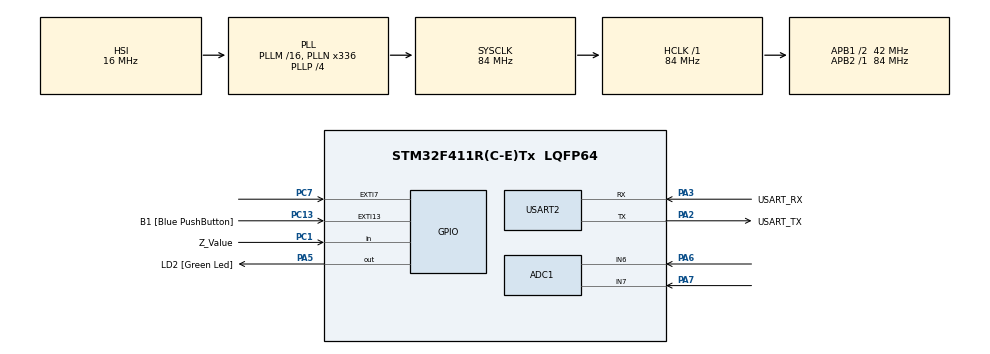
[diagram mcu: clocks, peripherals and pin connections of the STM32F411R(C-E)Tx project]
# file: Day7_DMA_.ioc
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ADC1.Channel-0\#ChannelRegularConversion=ADC_CHANNEL_6
ADC1.Channel-1\#ChannelRegularConversion=ADC_CHANNEL_7
ADC1.DMAContinuousRequests=ENABLE
ADC1.EOCSelection=ADC_EOC_SEQ_CONV
ADC1.ExternalTrigConv=ADC_EXTERNALTRIGCONV_T3_TRGO
ADC1.NbrOfConversion=2
ADC1.NbrOfConversionFlag=1
ADC1.Rank-0\#ChannelRegularConversion=1
ADC1.Rank-1\#ChannelRegularConversion=2
ADC1.SamplingTime-0\#ChannelRegularConversion=ADC_SAMPLETIME_84CYCLES
ADC1.SamplingTime-1\#ChannelRegularConversion=ADC_SAMPLETIME_84CYCLES
ADC1.ScanConvMode=ENABLE
ADC1.master=1
Dma.ADC1.0.Direction=DMA_PERIPH_TO_MEMORY
Dma.ADC1.0.FIFOMode=DMA_FIFOMODE_DISABLE
Dma.ADC1.0.Instance=DMA2_Stream0
Dma.ADC1.0.MemDataAlignment=DMA_MDATAALIGN_HALFWORD
Dma.ADC1.0.MemInc=DMA_MINC_ENABLE
Dma.ADC1.0.Mode=DMA_CIRCULAR
Dma.ADC1.0.PeriphDataAlignment=DMA_PDATAALIGN_HALFWORD
Dma.ADC1.0.PeriphInc=DMA_PINC_DISABLE
Dma.ADC1.0.Priority=DMA_PRIORITY_LOW
Dma.Request0=ADC1
Mcu.Family=STM32F4
Mcu.Name=STM32F411R(C-E)Tx
Mcu.Package=LQFP64
NVIC.DMA2_Stream0_IRQn=true\:0\:0\:false\:false\:true\:false\:true\:true
NVIC.EXTI9_5_IRQn=true\:0\:0\:false\:false\:true\:true\:true\:true
NVIC.PriorityGroup=NVIC_PRIORITYGROUP_0
NVIC.TIM4_IRQn=true\:0\:0\:false\:false\:true\:true\:true\:true
PA13.GPIO_Label=TMS
PA13.Mode=Serial_Wire
PA13.Signal=SYS_JTMS-SWDIO
PA14.GPIO_Label=TCK
PA14.Mode=Serial_Wire
PA14.Signal=SYS_JTCK-SWCLK
PA2.GPIO_Label=USART_TX
PA2.Mode=Asynchronous
PA2.Signal=USART2_TX
PA3.GPIO_Label=USART_RX
PA3.Mode=Asynchronous
PA3.Signal=USART2_RX
PA5.GPIO_Label=LD2 [Green Led]
PA5.Signal=GPIO_Output
PA6.Signal=ADCx_IN6
PA7.Signal=ADCx_IN7
PB3.GPIO_Label=SWO
PB3.Signal=SYS_JTDO-SWO
PC1.GPIO_Label=Z_Value
PC1.GPIO_PuPd=GPIO_PULLUP
PC1.Signal=GPIO_Input
PC13-ANTI_TAMP.GPIO_Label=B1 [Blue PushButton]
PC13-ANTI_TAMP.GPIO_ModeDefaultEXTI=GPIO_MODE_IT_FALLING
PC13-ANTI_TAMP.Signal=GPXTI13
PC14-OSC32_IN.Mode=LSE-External-Oscillator
PC14-OSC32_IN.Signal=RCC_OSC32_IN
PC15-OSC32_OUT.Mode=LSE-External-Oscillator
PC15-OSC32_OUT.Signal=RCC_OSC32_OUT
PC7.GPIO_ModeDefaultEXTI=GPIO_MODE_IT_RISING
PC7.Signal=GPXTI7
PH0\ -\ OSC_IN.Mode=HSE-External-Clock-Source
PH0\ -\ OSC_IN.Signal=RCC_OSC_IN
PH1\ -\ OSC_OUT.Mode=HSE-External-Clock-Source
PH1\ -\ OSC_OUT.Signal=RCC_OSC_OUT
ProjectManager.HeapSize=0x200
ProjectManager.StackSize=0x400
ProjectManager.TargetToolchain=STM32CubeIDE
RCC.48MHZClocksFreq_Value=84000000
RCC.AHBFreq_Value=84000000
RCC.APB1CLKDivider=RCC_HCLK_DIV2
RCC.APB1Freq_Value=42000000
RCC.APB1TimFreq_Value=84000000
RCC.APB2Freq_Value=84000000
RCC.APB2TimFreq_Value=84000000
RCC.CortexFreq_Value=84000000
RCC.FLatency-AdvancedSettings=FLASH_LATENCY_2
RCC.HCLKFreq_Value=84000000
RCC.HSE_VALUE=8000000
RCC.HSI_VALUE=16000000
RCC.PLLN=336
RCC.PLLP=RCC_PLLP_DIV4
RCC.SYSCLKFreq_VALUE=84000000
RCC.SYSCLKSource=RCC_SYSCLKSOURCE_PLLCLK
RCC.VCOOutputFreq_Value=336000000
SH.ADCx_IN6.0=ADC1_IN6,IN6
SH.ADCx_IN7.0=ADC1_IN7,IN7
TIM3.Period=2000-1
TIM3.Prescaler=8400-1
TIM3.TIM_MasterOutputTrigger=TIM_TRGO_UPDATE
TIM4.Period=10000-1
TIM4.Prescaler=8400-1
USART2.VirtualMode=VM_ASYNC
VP_TIM3_VS_ClockSourceINT.Mode=Internal
VP_TIM4_VS_ClockSourceINT.Mode=Internal
board=NUCLEO-F411RE

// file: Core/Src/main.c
/* USER CODE BEGIN Header */
/**
  ******************************************************************************
  * @file           : main.c
  * @brief          : Main program body
  ******************************************************************************
  * @attention
  *
  * Copyright (c) 2023 STMicroelectronics.
  * All rights reserved.
  *
  * This software is licensed under terms that can be found in the LICENSE file
  * in the root directory of this software component.
  * If no LICENSE file comes with this software, it is provided AS-IS.
  *
  ******************************************************************************
  */
/* USER CODE END Header */
#include "main.h"

ADC_HandleTypeDef hadc1;
DMA_HandleTypeDef hdma_adc1;

TIM_HandleTypeDef htim3;
TIM_HandleTypeDef htim4;

UART_HandleTypeDef huart2;

/* USER CODE BEGIN PV */
typedef union
{
	char cbuf[2]; // DMA Buffer
	uint16_t ibuf;
} BUFFER;
BUFFER bDMA[100];
int xVal=0, yVal=0, zVal=0;
int cnt = 0;
int dir = 0;
char *dirs[] = {"Front      ", "Front-Left ", "Left       ", "Back-Left  ", "Back       " , "Back-Right ", "Right      ", "Front-Right", "Push", "    "};

/* USER CODE END PV */

void SystemClock_Config(void);
static void MX_GPIO_Init(void);
static void MX_DMA_Init(void);
static void MX_USART2_UART_Init(void);
static void MX_ADC1_Init(void);
static void MX_TIM4_Init(void);
static void MX_TIM3_Init(void);

/* USER CODE BEGIN 0 */

// bDMA?��?�� �??????���????? union?���????? ?��?��

int __io_putchar(int ch)
{
   HAL_UART_Transmit(&huart2, &ch, 1, 100);
   return ch;
}

void GetDirection()
{
         if(xVal > 3000)
         {
            if(yVal > 3000) dir = 5;
            else if(yVal >1000) dir = 6;
            else dir =7;
         }
         else if(xVal < 1000)
         {
            if(yVal > 3000) dir = 3;
            else if(yVal >1000) dir = 2;
            else dir = 1;
         }
         else
         {
            if(yVal > 3000) dir = 4;
            else dir = 0;
         }
}

void Joystick_Test() //Read X and Y axis, convert to digital. zAxics also.
{
   int click_i;

   HAL_ADC_Start(&hadc1);
   //HAL_ADC_PollForConversion(&hadc1, 100);
   xVal = HAL_ADC_GetValue(&hadc1);

   //HAL_ADC_PollForConversion(&hadc1, 100);
   yVal = HAL_ADC_GetValue(&hadc1);

   //HAL_ADC_Stop(&hadc1);

   zVal = !(HAL_GPIO_ReadPin(Z_Value_GPIO_Port, Z_Value_Pin));

   if (zVal) click_i = 8;
   else click_i = 9;

   GetDirection();

   printf("x:%-5d y:%-5d z:%-3d  Direction : %-12s  Status : %-6s   \r\n", xVal, yVal, zVal, dirs[dir], dirs[click_i]);
   //printf("x:%d y:%d z:%d  Direction : %s  \r\n", xVal, yVal, zVal, dirs[dir]);
}

void HAL_ADC_ConvCPpltCallback(ADC_HandleTypeDef* hadc) //ADC interrupt callback funtion
{

	int click_i;

   if(cnt == 0)
   {
      xVal = HAL_ADC_GetValue(&hadc1);
   }
   if(cnt == 1)
   {
      yVal = HAL_ADC_GetValue(&hadc1);
   }
   if(++cnt > 1)
   {
      zVal = HAL_GPIO_ReadPin(Z_Value_GPIO_Port, Z_Value_Pin);

      if (zVal) click_i = 8;
      else click_i = 9;

      GetDirection();

      printf("x:%d y:%d z:%d  Direction : %s  Status : %s   \r\n", xVal, yVal, zVal, dirs[dir], dirs[click_i]);
      cnt = 0;//once in Interrupt Service Routine
   }

   HAL_ADC_Start_IT(&hadc1);
}

void HAL_TIM_PeriodElapsedCallback(TIM_HandleTypeDef *htim) //General Timer handler cause not have word about timer4
{
   //if(htim->Instance == TIM4)
         //Joystick_Test();
}

void HAL_GPIO_EXTI_Callback(uint16_t GPIO_Pin) // Generarl Callback
{
	//if(GPIO_Pin == GPIO_PIN_7)
		Joystick_Test();
}
/* USER CODE END 0 */

int main(void)
{

  /* MCU Configuration--------------------------------------------------------*/

  /* Reset of all peripherals, Initializes the Flash interface and the Systick. */
  HAL_Init();

  /* Configure the system clock */
  SystemClock_Config();

  /* Initialize all configured peripherals */
  MX_GPIO_Init();
  MX_DMA_Init();
  MX_USART2_UART_Init();
  MX_ADC1_Init();
  MX_TIM4_Init();
  MX_TIM3_Init();
  /* USER CODE BEGIN 2 */
  //HAL_ADC_Start_IT(&hadc1); // ADC Interrupt Start
  // HAL_TIM_Base_Start_IT(&htim4); // Timer Interrupt Start
  HAL_TIM_Base_Start(&htim3); // Timer Start
  HAL_ADC_Start_DMA(&hadc1, bDMA, 2);
  printf("Program Start!\r\n");
  /* USER CODE END 2 */

  /* Infinite loop */
  while (1)
  {

    /* USER CODE BEGIN 3 */
	  printf("x : %d[%02x %02x], y : %d[%02x %02x] \r\n", bDMA[0].ibuf, bDMA[0].cbuf[0], bDMA[0].cbuf[1],
			                                              bDMA[1].ibuf, bDMA[1].cbuf[0], bDMA[1].cbuf[1]);
	  HAL_Delay(300);
  }
  /* USER CODE END 3 */
}

void SystemClock_Config(void)
{
  RCC_OscInitTypeDef RCC_OscInitStruct = {0};
  RCC_ClkInitTypeDef RCC_ClkInitStruct = {0};

  /** Configure the main internal regulator output voltage
  */
  __HAL_RCC_PWR_CLK_ENABLE();
  __HAL_PWR_VOLTAGESCALING_CONFIG(PWR_REGULATOR_VOLTAGE_SCALE1);

  /** Initializes the RCC Oscillators according to the specified parameters
  * in the RCC_OscInitTypeDef structure.
  */
  RCC_OscInitStruct.OscillatorType = RCC_OSCILLATORTYPE_HSI;
  RCC_OscInitStruct.HSIState = RCC_HSI_ON;
  RCC_OscInitStruct.HSICalibrationValue = RCC_HSICALIBRATION_DEFAULT;
  RCC_OscInitStruct.PLL.PLLState = RCC_PLL_ON;
  RCC_OscInitStruct.PLL.PLLSource = RCC_PLLSOURCE_HSI;
  RCC_OscInitStruct.PLL.PLLM = 16;
  RCC_OscInitStruct.PLL.PLLN = 336;
  RCC_OscInitStruct.PLL.PLLP = RCC_PLLP_DIV4;
  RCC_OscInitStruct.PLL.PLLQ = 4;
  if (HAL_RCC_OscConfig(&RCC_OscInitStruct) != HAL_OK)
  {
    Error_Handler();
  }

  /** Initializes the CPU, AHB and APB buses clocks
  */
  RCC_ClkInitStruct.ClockType = RCC_CLOCKTYPE_HCLK|RCC_CLOCKTYPE_SYSCLK
                              |RCC_CLOCKTYPE_PCLK1|RCC_CLOCKTYPE_PCLK2;
  RCC_ClkInitStruct.SYSCLKSource = RCC_SYSCLKSOURCE_PLLCLK;
  RCC_ClkInitStruct.AHBCLKDivider = RCC_SYSCLK_DIV1;
  RCC_ClkInitStruct.APB1CLKDivider = RCC_HCLK_DIV2;
  RCC_ClkInitStruct.APB2CLKDivider = RCC_HCLK_DIV1;

  if (HAL_RCC_ClockConfig(&RCC_ClkInitStruct, FLASH_LATENCY_2) != HAL_OK)
  {
    Error_Handler();
  }
}

static void MX_ADC1_Init(void)
{

  ADC_ChannelConfTypeDef sConfig = {0};

  /** Configure the global features of the ADC (Clock, Resolution, Data Alignment and number of conversion)
  */
  hadc1.Instance = ADC1;
  hadc1.Init.ClockPrescaler = ADC_CLOCK_SYNC_PCLK_DIV4;
  hadc1.Init.Resolution = ADC_RESOLUTION_12B;
  hadc1.Init.ScanConvMode = ENABLE;
  hadc1.Init.ContinuousConvMode = DISABLE;
  hadc1.Init.DiscontinuousConvMode = DISABLE;
  hadc1.Init.ExternalTrigConvEdge = ADC_EXTERNALTRIGCONVEDGE_RISING;
  hadc1.Init.ExternalTrigConv = ADC_EXTERNALTRIGCONV_T3_TRGO;
  hadc1.Init.DataAlign = ADC_DATAALIGN_RIGHT;
  hadc1.Init.NbrOfConversion = 2;
  hadc1.Init.DMAContinuousRequests = ENABLE;
  hadc1.Init.EOCSelection = ADC_EOC_SEQ_CONV;
  if (HAL_ADC_Init(&hadc1) != HAL_OK)
  {
    Error_Handler();
  }

  /** Configure for the selected ADC regular channel its corresponding rank in the sequencer and its sample time.
  */
  sConfig.Channel = ADC_CHANNEL_6;
  sConfig.Rank = 1;
  sConfig.SamplingTime = ADC_SAMPLETIME_84CYCLES;
  if (HAL_ADC_ConfigChannel(&hadc1, &sConfig) != HAL_OK)
  {
    Error_Handler();
  }

  /** Configure for the selected ADC regular channel its corresponding rank in the sequencer and its sample time.
  */
  sConfig.Channel = ADC_CHANNEL_7;
  sConfig.Rank = 2;
  if (HAL_ADC_ConfigChannel(&hadc1, &sConfig) != HAL_OK)
  {
    Error_Handler();
  }

}

static void MX_TIM3_Init(void)
{

  TIM_ClockConfigTypeDef sClockSourceConfig = {0};
  TIM_MasterConfigTypeDef sMasterConfig = {0};

  htim3.Instance = TIM3;
  htim3.Init.Prescaler = 8400-1;
  htim3.Init.CounterMode = TIM_COUNTERMODE_UP;
  htim3.Init.Period = 2000-1;
  htim3.Init.ClockDivision = TIM_CLOCKDIVISION_DIV1;
  htim3.Init.AutoReloadPreload = TIM_AUTORELOAD_PRELOAD_DISABLE;
  if (HAL_TIM_Base_Init(&htim3) != HAL_OK)
  {
    Error_Handler();
  }
  sClockSourceConfig.ClockSource = TIM_CLOCKSOURCE_INTERNAL;
  if (HAL_TIM_ConfigClockSource(&htim3, &sClockSourceConfig) != HAL_OK)
  {
    Error_Handler();
  }
  sMasterConfig.MasterOutputTrigger = TIM_TRGO_UPDATE;
  sMasterConfig.MasterSlaveMode = TIM_MASTERSLAVEMODE_DISABLE;
  if (HAL_TIMEx_MasterConfigSynchronization(&htim3, &sMasterConfig) != HAL_OK)
  {
    Error_Handler();
  }

}

static void MX_TIM4_Init(void)
{

  TIM_ClockConfigTypeDef sClockSourceConfig = {0};
  TIM_MasterConfigTypeDef sMasterConfig = {0};

  htim4.Instance = TIM4;
  htim4.Init.Prescaler = 8400-1;
  htim4.Init.CounterMode = TIM_COUNTERMODE_UP;
  htim4.Init.Period = 10000-1;
  htim4.Init.ClockDivision = TIM_CLOCKDIVISION_DIV1;
  htim4.Init.AutoReloadPreload = TIM_AUTORELOAD_PRELOAD_DISABLE;
  if (HAL_TIM_Base_Init(&htim4) != HAL_OK)
  {
    Error_Handler();
  }
  sClockSourceConfig.ClockSource = TIM_CLOCKSOURCE_INTERNAL;
  if (HAL_TIM_ConfigClockSource(&htim4, &sClockSourceConfig) != HAL_OK)
  {
    Error_Handler();
  }
  sMasterConfig.MasterOutputTrigger = TIM_TRGO_RESET;
  sMasterConfig.MasterSlaveMode = TIM_MASTERSLAVEMODE_DISABLE;
  if (HAL_TIMEx_MasterConfigSynchronization(&htim4, &sMasterConfig) != HAL_OK)
  {
    Error_Handler();
  }

}

static void MX_USART2_UART_Init(void)
{

  huart2.Instance = USART2;
  huart2.Init.BaudRate = 115200;
  huart2.Init.WordLength = UART_WORDLENGTH_8B;
  huart2.Init.StopBits = UART_STOPBITS_1;
  huart2.Init.Parity = UART_PARITY_NONE;
  huart2.Init.Mode = UART_MODE_TX_RX;
  huart2.Init.HwFlowCtl = UART_HWCONTROL_NONE;
  huart2.Init.OverSampling = UART_OVERSAMPLING_16;
  if (HAL_UART_Init(&huart2) != HAL_OK)
  {
    Error_Handler();
  }

}

static void MX_DMA_Init(void)
{

  /* DMA controller clock enable */
  __HAL_RCC_DMA2_CLK_ENABLE();

  /* DMA interrupt init */
  /* DMA2_Stream0_IRQn interrupt configuration */
  HAL_NVIC_SetPriority(DMA2_Stream0_IRQn, 0, 0);
  HAL_NVIC_EnableIRQ(DMA2_Stream0_IRQn);

}

static void MX_GPIO_Init(void)
{
  GPIO_InitTypeDef GPIO_InitStruct = {0};

  /* GPIO Ports Clock Enable */
  __HAL_RCC_GPIOC_CLK_ENABLE();
  __HAL_RCC_GPIOH_CLK_ENABLE();
  __HAL_RCC_GPIOA_CLK_ENABLE();
  __HAL_RCC_GPIOB_CLK_ENABLE();

  /*Configure GPIO pin Output Level */
  HAL_GPIO_WritePin(LD2_GPIO_Port, LD2_Pin, GPIO_PIN_RESET);

  /*Configure GPIO pin : B1_Pin */
  GPIO_InitStruct.Pin = B1_Pin;
  GPIO_InitStruct.Mode = GPIO_MODE_IT_FALLING;
  GPIO_InitStruct.Pull = GPIO_NOPULL;
  HAL_GPIO_Init(B1_GPIO_Port, &GPIO_InitStruct);

  /*Configure GPIO pin : Z_Value_Pin */
  GPIO_InitStruct.Pin = Z_Value_Pin;
  GPIO_InitStruct.Mode = GPIO_MODE_INPUT;
  GPIO_InitStruct.Pull = GPIO_PULLUP;
  HAL_GPIO_Init(Z_Value_GPIO_Port, &GPIO_InitStruct);

  /*Configure GPIO pin : LD2_Pin */
  GPIO_InitStruct.Pin = LD2_Pin;
  GPIO_InitStruct.Mode = GPIO_MODE_OUTPUT_PP;
  GPIO_InitStruct.Pull = GPIO_NOPULL;
  GPIO_InitStruct.Speed = GPIO_SPEED_FREQ_LOW;
  HAL_GPIO_Init(LD2_GPIO_Port, &GPIO_InitStruct);

  /*Configure GPIO pin : PC7 */
  GPIO_InitStruct.Pin = GPIO_PIN_7;
  GPIO_InitStruct.Mode = GPIO_MODE_IT_RISING;
  GPIO_InitStruct.Pull = GPIO_NOPULL;
  HAL_GPIO_Init(GPIOC, &GPIO_InitStruct);

  /* EXTI interrupt init*/
  HAL_NVIC_SetPriority(EXTI9_5_IRQn, 0, 0);
  HAL_NVIC_EnableIRQ(EXTI9_5_IRQn);

}

void Error_Handler(void)
{
  __disable_irq();
  while (1)
  {
  }
}
